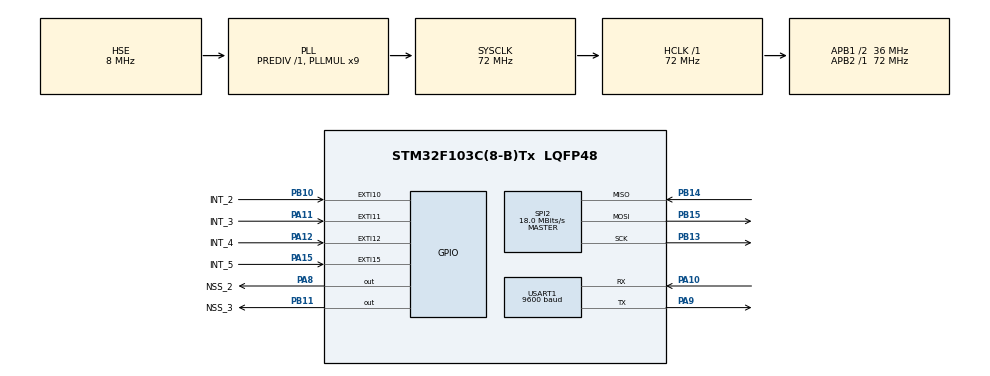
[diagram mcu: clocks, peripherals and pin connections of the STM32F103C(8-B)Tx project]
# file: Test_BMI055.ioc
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Mcu.Family=STM32F1
Mcu.Name=STM32F103C(8-B)Tx
Mcu.Package=LQFP48
NVIC.EXTI15_10_IRQn=true\:0\:0\:false\:false\:true\:true\:true\:true
NVIC.PriorityGroup=NVIC_PRIORITYGROUP_4
PA10.Mode=Asynchronous
PA10.Signal=USART1_RX
PA11.GPIO_Label=INT_3
PA11.GPIO_ModeDefaultEXTI=GPIO_MODE_IT_RISING
PA11.Signal=GPXTI11
PA12.GPIO_Label=INT_4
PA12.GPIO_ModeDefaultEXTI=GPIO_MODE_IT_RISING
PA12.Signal=GPXTI12
PA13.Mode=Serial_Wire
PA13.Signal=SYS_JTMS-SWDIO
PA14.Mode=Serial_Wire
PA14.Signal=SYS_JTCK-SWCLK
PA15.GPIO_Label=INT_5
PA15.GPIO_ModeDefaultEXTI=GPIO_MODE_IT_RISING
PA15.Signal=GPXTI15
PA8.GPIO_Label=NSS_2
PA8.GPIO_Speed=GPIO_SPEED_FREQ_LOW
PA8.PinState=GPIO_PIN_SET
PA8.Signal=GPIO_Output
PA9.Mode=Asynchronous
PA9.Signal=USART1_TX
PB10.GPIO_Label=INT_2
PB10.GPIO_ModeDefaultEXTI=GPIO_MODE_IT_RISING
PB10.Signal=GPXTI10
PB11.GPIO_Label=NSS_3
PB11.GPIO_Speed=GPIO_SPEED_FREQ_LOW
PB11.PinState=GPIO_PIN_SET
PB11.Signal=GPIO_Output
PB13.Mode=Full_Duplex_Master
PB13.Signal=SPI2_SCK
PB14.Mode=Full_Duplex_Master
PB14.Signal=SPI2_MISO
PB15.Mode=Full_Duplex_Master
PB15.Signal=SPI2_MOSI
PD0-OSC_IN.Mode=HSE-External-Oscillator
PD0-OSC_IN.Signal=RCC_OSC_IN
PD1-OSC_OUT.Mode=HSE-External-Oscillator
PD1-OSC_OUT.Signal=RCC_OSC_OUT
ProjectManager.HeapSize=0x200
ProjectManager.StackSize=0x400
ProjectManager.TargetToolchain=CMake
RCC.AHBFreq_Value=72000000
RCC.APB1CLKDivider=RCC_HCLK_DIV2
RCC.APB1Freq_Value=36000000
RCC.APB1TimFreq_Value=72000000
RCC.APB2Freq_Value=72000000
RCC.APB2TimFreq_Value=72000000
RCC.HCLKFreq_Value=72000000
RCC.PLLMUL=RCC_PLL_MUL9
RCC.PLLSourceVirtual=RCC_PLLSOURCE_HSE
RCC.SYSCLKFreq_VALUE=72000000
RCC.SYSCLKSource=RCC_SYSCLKSOURCE_PLLCLK
RCC.USBFreq_Value=72000000
SPI2.CalculateBaudRate=18.0 MBits/s
SPI2.Direction=SPI_DIRECTION_2LINES
SPI2.FirstBit=SPI_FIRSTBIT_MSB
SPI2.Mode=SPI_MODE_MASTER
SPI2.VirtualType=VM_MASTER
USART1.BaudRate=9600
USART1.VirtualMode=VM_ASYNC
board=custom

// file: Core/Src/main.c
/* USER CODE BEGIN Header */
/**
  ******************************************************************************
  * @file           : main.c
  * @brief          : Main program body
  ******************************************************************************
  * @attention
  *
  * Copyright (c) 2025 STMicroelectronics.
  * All rights reserved.
  *
  * This software is licensed under terms that can be found in the LICENSE file
  * in the root directory of this software component.
  * If no LICENSE file comes with this software, it is provided AS-IS.
  *
  ******************************************************************************
  */
/* USER CODE END Header */
#include "main.h"
#include "spi.h"
#include "usart.h"
#include "gpio.h"

/* USER CODE BEGIN Includes */
#include "BMI055.h"
#include "string.h"
#include "stdio.h"
/* USER CODE END Includes */

/* USER CODE BEGIN PV */
uint8_t uart_buf[256];
int16_t gyro[3];
int16_t accel[3];
float *temp;
/* USER CODE END PV */

void SystemClock_Config(void);

/* USER CODE BEGIN 0 */
void HAL_GPIO_EXTI_Callback(uint16_t GPIO_Pin){
  BMI_acc_int_callback(GPIO_Pin);
}
/* USER CODE END 0 */

int main(void)
{

  /* MCU Configuration--------------------------------------------------------*/

  /* Reset of all peripherals, Initializes the Flash interface and the Systick. */
  HAL_Init();

  /* Configure the system clock */
  SystemClock_Config();

  /* Initialize all configured peripherals */
  MX_GPIO_Init();
  MX_SPI2_Init();
  MX_USART1_UART_Init();
  /* USER CODE BEGIN 2 */
  if(BMI_init())
  {
    sprintf(&uart_buf, "BMI Error: %d\n", BMI_get_error());
    HAL_UART_Transmit(&huart1, uart_buf, strlen(uart_buf), 100);
    while(1){}
  }

  // set resolution
  BMI_set_acc_range(A_RANGE_2G);
  BMI_set_gyr_range(G_RANGE_125DPS);

  // set filter
  // BMI_set_acc_bw(A_BANDWITH_1000Hz);
  // BMI_set_gyr_bw(G_BANDWIDTH_116Hz);

  // enable int on motion
  BMI_ACC_Interrupt_En acc_int_ens;
  acc_int_ens.slope_en_z = 1;

  A_INT_Latch acc_int_latch = A_INT_LATCH_latched;

  BMI_ACC_Interrupt_Map acc_int_map;
  acc_int_map.int1_slope = 1;

  BMI_ACC_Interrupt_Out_Ctrl acc_int_out_ctrl;
  acc_int_out_ctrl.int1_odd = 0; // 0 - push-pull
  acc_int_out_ctrl.int1_lvl = 1; // 1 - active high

  BMI_acc_int_set_out_ctrl(acc_int_out_ctrl);
  BMI_acc_int_set_map(acc_int_map);
  BMI_acc_int_set_latch(acc_int_latch);
  BMI_acc_int_set_en(acc_int_ens);

  BMI_ACC_Int_status acc_int_status = {0};

  /* USER CODE END 2 */

  /* Infinite loop */
  while (1)
  {

    /* USER CODE BEGIN 3 */
    if (BMI_acc_int_get_state() == BMI_INT_1) {
      float acc_m[3], gyro_dps[3];

      BMI_get_raw_acc(accel);
      BMI_get_raw_gyr(gyro);

      acc_int_status = BMI_acc_int_get_statuses();

      BMI_acc_to_metric(accel, acc_m);
      BMI_gyr_to_dps(gyro, gyro_dps);

      sprintf(uart_buf, "STATUS: %X ACC: %f %f %f GYRO: %f %f %f\n",
        (acc_int_status.b_0 << 24) | (acc_int_status.b_1 << 16) | (acc_int_status.b_2 << 8) | (acc_int_status.b_3),
        acc_m[0], acc_m[1], acc_m[2],
        gyro_dps[0], gyro_dps[1], gyro_dps[2]
      );

      HAL_UART_Transmit(&huart1, uart_buf, strlen(uart_buf), 100);

      BMI_acc_int_latch_clear();
      BMI_acc_int_reset_state();
      HAL_Delay(50);
    }
  }
  /* USER CODE END 3 */
}

void SystemClock_Config(void)
{
  RCC_OscInitTypeDef RCC_OscInitStruct = {0};
  RCC_ClkInitTypeDef RCC_ClkInitStruct = {0};

  /** Initializes the RCC Oscillators according to the specified parameters
  * in the RCC_OscInitTypeDef structure.
  */
  RCC_OscInitStruct.OscillatorType = RCC_OSCILLATORTYPE_HSE;
  RCC_OscInitStruct.HSEState = RCC_HSE_ON;
  RCC_OscInitStruct.HSEPredivValue = RCC_HSE_PREDIV_DIV1;
  RCC_OscInitStruct.HSIState = RCC_HSI_ON;
  RCC_OscInitStruct.PLL.PLLState = RCC_PLL_ON;
  RCC_OscInitStruct.PLL.PLLSource = RCC_PLLSOURCE_HSE;
  RCC_OscInitStruct.PLL.PLLMUL = RCC_PLL_MUL9;
  if (HAL_RCC_OscConfig(&RCC_OscInitStruct) != HAL_OK)
  {
    Error_Handler();
  }

  /** Initializes the CPU, AHB and APB buses clocks
  */
  RCC_ClkInitStruct.ClockType = RCC_CLOCKTYPE_HCLK|RCC_CLOCKTYPE_SYSCLK
                              |RCC_CLOCKTYPE_PCLK1|RCC_CLOCKTYPE_PCLK2;
  RCC_ClkInitStruct.SYSCLKSource = RCC_SYSCLKSOURCE_PLLCLK;
  RCC_ClkInitStruct.AHBCLKDivider = RCC_SYSCLK_DIV1;
  RCC_ClkInitStruct.APB1CLKDivider = RCC_HCLK_DIV2;
  RCC_ClkInitStruct.APB2CLKDivider = RCC_HCLK_DIV1;

  if (HAL_RCC_ClockConfig(&RCC_ClkInitStruct, FLASH_LATENCY_2) != HAL_OK)
  {
    Error_Handler();
  }
}

void Error_Handler(void)
{
  __disable_irq();
  while (1)
  {
  }
}
